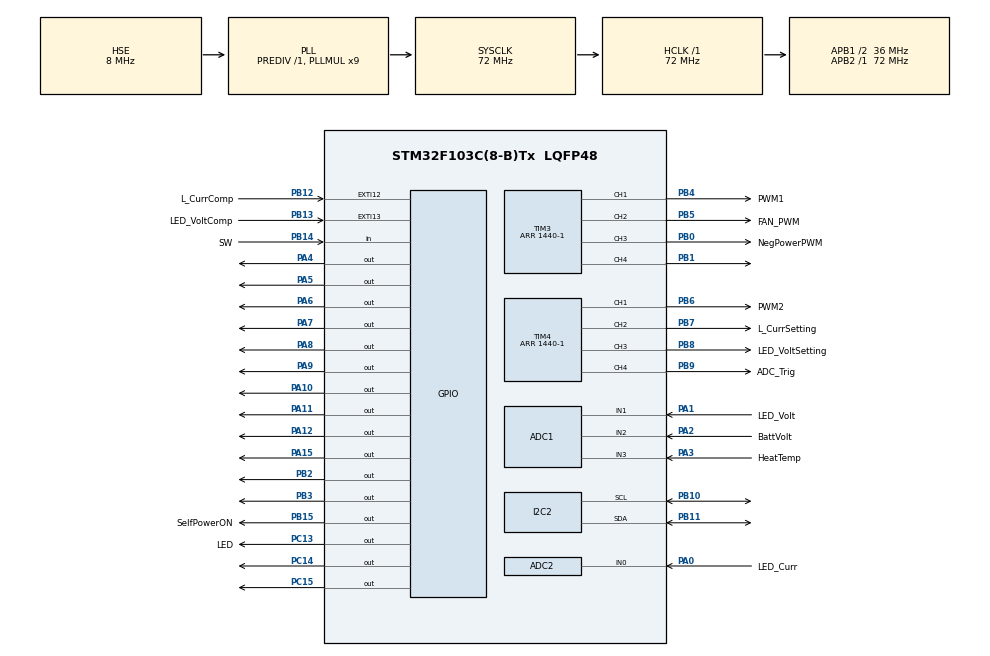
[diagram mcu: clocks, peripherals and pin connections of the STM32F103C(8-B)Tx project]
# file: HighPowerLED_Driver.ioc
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ADC1.Channel-11\#ChannelRegularConversion=ADC_CHANNEL_1
ADC1.Channel-12\#ChannelRegularConversion=ADC_CHANNEL_2
ADC1.Channel-13\#ChannelRegularConversion=ADC_CHANNEL_3
ADC1.Channel-14\#ChannelRegularConversion=ADC_CHANNEL_TEMPSENSOR
ADC1.Channel-15\#ChannelRegularConversion=ADC_CHANNEL_VREFINT
ADC1.ContinuousConvMode=ENABLE
ADC1.EnableInjectedConversion=DISABLE
ADC1.EnableRegularConversion=ENABLE
ADC1.NbrOfConversion=5
ADC1.NbrOfConversionFlag=1
ADC1.Rank-11\#ChannelRegularConversion=1
ADC1.Rank-12\#ChannelRegularConversion=2
ADC1.Rank-13\#ChannelRegularConversion=3
ADC1.Rank-14\#ChannelRegularConversion=4
ADC1.Rank-15\#ChannelRegularConversion=5
ADC1.SamplingTime-11\#ChannelRegularConversion=ADC_SAMPLETIME_13CYCLES_5
ADC1.SamplingTime-12\#ChannelRegularConversion=ADC_SAMPLETIME_13CYCLES_5
ADC1.SamplingTime-13\#ChannelRegularConversion=ADC_SAMPLETIME_13CYCLES_5
ADC1.SamplingTime-14\#ChannelRegularConversion=ADC_SAMPLETIME_55CYCLES_5
ADC1.SamplingTime-15\#ChannelRegularConversion=ADC_SAMPLETIME_55CYCLES_5
ADC1.master=1
ADC2.Channel-1\#ChannelRegularConversion=ADC_CHANNEL_0
ADC2.EnableInjectedConversion=DISABLE
ADC2.ExternalTrigConv=ADC_EXTERNALTRIGCONV_T4_CC4
ADC2.ExternalTrigInjecConv=ADC_INJECTED_SOFTWARE_START
ADC2.InjNumberOfConversion=1
ADC2.NbrOfConversion=1
ADC2.NbrOfConversionFlag=1
ADC2.Rank-1\#ChannelRegularConversion=1
ADC2.SamplingTime-1\#ChannelRegularConversion=ADC_SAMPLETIME_7CYCLES_5
Dma.ADC1.0.Direction=DMA_PERIPH_TO_MEMORY
Dma.ADC1.0.Instance=DMA1_Channel1
Dma.ADC1.0.MemDataAlignment=DMA_MDATAALIGN_HALFWORD
Dma.ADC1.0.MemInc=DMA_MINC_ENABLE
Dma.ADC1.0.Mode=DMA_CIRCULAR
Dma.ADC1.0.PeriphDataAlignment=DMA_PDATAALIGN_HALFWORD
Dma.ADC1.0.PeriphInc=DMA_PINC_DISABLE
Dma.ADC1.0.Priority=DMA_PRIORITY_VERY_HIGH
Dma.I2C2_RX.2.Direction=DMA_PERIPH_TO_MEMORY
Dma.I2C2_RX.2.Instance=DMA1_Channel5
Dma.I2C2_RX.2.MemDataAlignment=DMA_MDATAALIGN_BYTE
Dma.I2C2_RX.2.MemInc=DMA_MINC_ENABLE
Dma.I2C2_RX.2.Mode=DMA_NORMAL
Dma.I2C2_RX.2.PeriphDataAlignment=DMA_PDATAALIGN_BYTE
Dma.I2C2_RX.2.PeriphInc=DMA_PINC_DISABLE
Dma.I2C2_RX.2.Priority=DMA_PRIORITY_LOW
Dma.I2C2_TX.1.Direction=DMA_MEMORY_TO_PERIPH
Dma.I2C2_TX.1.Instance=DMA1_Channel4
Dma.I2C2_TX.1.MemDataAlignment=DMA_MDATAALIGN_BYTE
Dma.I2C2_TX.1.MemInc=DMA_MINC_ENABLE
Dma.I2C2_TX.1.Mode=DMA_NORMAL
Dma.I2C2_TX.1.PeriphDataAlignment=DMA_PDATAALIGN_BYTE
Dma.I2C2_TX.1.PeriphInc=DMA_PINC_DISABLE
Dma.I2C2_TX.1.Priority=DMA_PRIORITY_LOW
Dma.Request0=ADC1
Dma.Request1=I2C2_TX
Dma.Request2=I2C2_RX
Mcu.Family=STM32F1
Mcu.Name=STM32F103C(8-B)Tx
Mcu.Package=LQFP48
NVIC.ADC1_2_IRQn=true\:1\:0\:true\:false\:true\:true\:true\:true
NVIC.DMA1_Channel1_IRQn=true\:11\:0\:true\:false\:true\:false\:true\:true
NVIC.DMA1_Channel4_IRQn=true\:0\:0\:false\:false\:true\:false\:true\:true
NVIC.DMA1_Channel5_IRQn=true\:0\:0\:false\:false\:true\:false\:true\:true
NVIC.EXTI15_10_IRQn=true\:12\:0\:true\:false\:true\:true\:true\:true
NVIC.I2C2_EV_IRQn=true\:0\:0\:false\:false\:true\:true\:true\:true
NVIC.PriorityGroup=NVIC_PRIORITYGROUP_4
NVIC.TIM2_IRQn=true\:14\:0\:true\:false\:true\:true\:true\:true
PA0-WKUP.GPIO_Label=LED_Curr
PA0-WKUP.Signal=ADCx_IN0
PA1.GPIO_Label=LED_Volt
PA1.Signal=ADCx_IN1
PA10.Signal=GPIO_Output
PA11.Signal=GPIO_Output
PA12.Signal=GPIO_Output
PA13.Mode=Serial_Wire
PA13.Signal=SYS_JTMS-SWDIO
PA14.Mode=Serial_Wire
PA14.Signal=SYS_JTCK-SWCLK
PA15.Signal=GPIO_Output
PA2.GPIO_Label=BattVolt
PA2.Signal=ADCx_IN2
PA3.GPIO_Label=HeatTemp
PA3.Signal=ADCx_IN3
PA4.Signal=GPIO_Output
PA5.Signal=GPIO_Output
PA6.Signal=GPIO_Output
PA7.Signal=GPIO_Output
PA8.Signal=GPIO_Output
PA9.Signal=GPIO_Output
PB0.GPIO_Label=NegPowerPWM
PB0.GPIO_Speed=GPIO_SPEED_FREQ_HIGH
PB0.Signal=S_TIM3_CH3
PB1.GPIO_Speed=GPIO_SPEED_FREQ_HIGH
PB1.Signal=S_TIM3_CH4
PB10.Mode=I2C
PB10.Signal=I2C2_SCL
PB11.Mode=I2C
PB11.Signal=I2C2_SDA
PB12.GPIO_Label=L_CurrComp
PB12.GPIO_ModeDefaultEXTI=GPIO_MODE_IT_FALLING
PB12.GPIO_PuPd=GPIO_PULLUP
PB12.Signal=GPXTI12
PB13.GPIO_Label=LED_VoltComp
PB13.GPIO_ModeDefaultEXTI=GPIO_MODE_IT_FALLING
PB13.GPIO_PuPd=GPIO_PULLUP
PB13.Signal=GPXTI13
PB14.GPIO_Label=SW
PB14.GPIO_PuPd=GPIO_NOPULL
PB14.Signal=GPIO_Input
PB15.GPIO_Label=SelfPowerON
PB15.GPIO_PuPd=GPIO_PULLDOWN
PB15.Signal=GPIO_Output
PB2.Signal=GPIO_Output
PB3.Signal=GPIO_Output
PB4.GPIO_Label=PWM1
PB4.GPIO_Speed=GPIO_SPEED_FREQ_HIGH
PB4.Signal=S_TIM3_CH1
PB5.GPIO_Label=FAN_PWM
PB5.GPIO_Speed=GPIO_SPEED_FREQ_HIGH
PB5.Signal=S_TIM3_CH2
PB6.GPIO_Label=PWM2
PB6.GPIO_Speed=GPIO_SPEED_FREQ_HIGH
PB6.Signal=S_TIM4_CH1
PB7.GPIO_Label=L_CurrSetting
PB7.GPIO_Speed=GPIO_SPEED_FREQ_HIGH
PB7.Signal=S_TIM4_CH2
PB8.GPIO_Label=LED_VoltSetting
PB8.GPIO_Speed=GPIO_SPEED_FREQ_HIGH
PB8.Signal=S_TIM4_CH3
PB9.GPIO_Label=ADC_Trig
PB9.GPIO_Speed=GPIO_SPEED_FREQ_HIGH
PB9.Signal=S_TIM4_CH4
PC13-TAMPER-RTC.GPIO_Label=LED
PC13-TAMPER-RTC.GPIO_PuPd=GPIO_PULLDOWN
PC13-TAMPER-RTC.GPIO_Speed=GPIO_SPEED_FREQ_HIGH
PC13-TAMPER-RTC.PinState=GPIO_PIN_RESET
PC13-TAMPER-RTC.Signal=GPIO_Output
PC14-OSC32_IN.Signal=GPIO_Output
PC15-OSC32_OUT.Signal=GPIO_Output
PD0-OSC_IN.Mode=HSE-External-Oscillator
PD0-OSC_IN.Signal=RCC_OSC_IN
PD1-OSC_OUT.Mode=HSE-External-Oscillator
PD1-OSC_OUT.Signal=RCC_OSC_OUT
ProjectManager.HeapSize=0x200
ProjectManager.StackSize=0x400
ProjectManager.TargetToolchain=CMake
RCC.ADCPresc=RCC_ADCPCLK2_DIV6
RCC.AHBFreq_Value=72000000
RCC.APB1CLKDivider=RCC_HCLK_DIV2
RCC.APB1Freq_Value=36000000
RCC.APB1TimFreq_Value=72000000
RCC.APB2Freq_Value=72000000
RCC.APB2TimFreq_Value=72000000
RCC.HCLKFreq_Value=72000000
RCC.PLLMUL=RCC_PLL_MUL9
RCC.PLLSourceVirtual=RCC_PLLSOURCE_HSE
RCC.RCC_MCOSource=RCC_MCO1SOURCE_PLLCLK
RCC.RTCClockSelection=RCC_RTCCLKSOURCE_LSE
RCC.SYSCLKFreq_VALUE=72000000
RCC.SYSCLKSource=RCC_SYSCLKSOURCE_PLLCLK
RCC.USBFreq_Value=72000000
SH.ADCx_IN0.0=ADC2_IN0,IN0
SH.ADCx_IN1.0=ADC2_IN1
SH.ADCx_IN1.1=ADC1_IN1,IN1
SH.ADCx_IN2.0=ADC1_IN2,IN2
SH.ADCx_IN3.0=ADC1_IN3,IN3
SH.S_TIM3_CH1.0=TIM3_CH1,PWM Generation1 CH1
SH.S_TIM3_CH2.0=TIM3_CH2,PWM Generation2 CH2
SH.S_TIM3_CH3.0=TIM3_CH3,PWM Generation3 CH3
SH.S_TIM3_CH4.0=TIM3_CH4,PWM Generation4 CH4
SH.S_TIM4_CH1.0=TIM4_CH1,PWM Generation1 CH1
SH.S_TIM4_CH2.0=TIM4_CH2,PWM Generation2 CH2
SH.S_TIM4_CH3.0=TIM4_CH3,PWM Generation3 CH3
SH.S_TIM4_CH4.0=TIM4_CH4,PWM Generation4 CH4
TIM2.AutoReloadPreload=TIM_AUTORELOAD_PRELOAD_ENABLE
TIM2.CounterMode=TIM_COUNTERMODE_UP
TIM2.Period=7200-1
TIM2.Prescaler=10-1
TIM3.AutoReloadPreload=TIM_AUTORELOAD_PRELOAD_ENABLE
TIM3.Channel-PWM\ Generation1\ CH1=TIM_CHANNEL_1
TIM3.Channel-PWM\ Generation2\ CH2=TIM_CHANNEL_2
TIM3.Channel-PWM\ Generation3\ CH3=TIM_CHANNEL_3
TIM3.Channel-PWM\ Generation4\ CH4=TIM_CHANNEL_4
TIM3.CounterMode=TIM_COUNTERMODE_UP
TIM3.OC1Preload_PWM=DISABLE
TIM3.OC2Preload_PWM=DISABLE
TIM3.OC4Preload_PWM=DISABLE
TIM3.OCFastMode_PWM-PWM\ Generation1\ CH1=TIM_OCFAST_ENABLE
TIM3.OCFastMode_PWM-PWM\ Generation2\ CH2=TIM_OCFAST_ENABLE
TIM3.OCFastMode_PWM-PWM\ Generation4\ CH4=TIM_OCFAST_ENABLE
TIM3.OCMode_PWM-PWM\ Generation4\ CH4=TIM_OCMODE_PWM2
TIM3.Period=1440-1
TIM3.Pulse-PWM\ Generation1\ CH1=0
TIM3.Pulse-PWM\ Generation2\ CH2=0
TIM3.Pulse-PWM\ Generation4\ CH4=720
TIM3.TIM_MasterOutputTrigger=TIM_TRGO_OC4REF
TIM3.TIM_MasterSlaveMode=TIM_MASTERSLAVEMODE_DISABLE
TIM4.AutoReloadPreload=TIM_AUTORELOAD_PRELOAD_ENABLE
TIM4.Channel-PWM\ Generation1\ CH1=TIM_CHANNEL_1
TIM4.Channel-PWM\ Generation2\ CH2=TIM_CHANNEL_2
TIM4.Channel-PWM\ Generation3\ CH3=TIM_CHANNEL_3
TIM4.Channel-PWM\ Generation4\ CH4=TIM_CHANNEL_4
TIM4.CounterMode=TIM_COUNTERMODE_UP
TIM4.OC1Preload_PWM=DISABLE
TIM4.OC4Preload_PWM=DISABLE
TIM4.OCFastMode_PWM-PWM\ Generation1\ CH1=TIM_OCFAST_ENABLE
TIM4.OCFastMode_PWM-PWM\ Generation4\ CH4=TIM_OCFAST_ENABLE
TIM4.OCMode_PWM-PWM\ Generation4\ CH4=TIM_OCMODE_PWM2
TIM4.Period=1440-1
TIM4.Pulse-PWM\ Generation1\ CH1=0
TIM4.Pulse-PWM\ Generation4\ CH4=1
TIM4.TIM_MasterOutputTrigger=TIM_TRGO_OC4REF
VP_ADC1_TempSens_Input.Mode=IN-TempSens
VP_ADC1_Vref_Input.Mode=IN-Vrefint
VP_TIM2_VS_ClockSourceINT.Mode=Internal
VP_TIM3_VS_ClockSourceINT.Mode=Internal
VP_TIM4_VS_ClockSourceINT.Mode=Internal
VP_TIM4_VS_ClockSourceITR.Mode=TriggerSource_ITR2
VP_TIM4_VS_ControllerModeReset.Mode=Reset Mode
board=custom

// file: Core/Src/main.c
/* USER CODE BEGIN Header */
/**
 ******************************************************************************
 * @file           : main.c
 * @brief          : Main program body
 ******************************************************************************
 * @attention
 *
 * Copyright (c) 2024 STMicroelectronics.
 * All rights reserved.
 *
 * This software is licensed under terms that can be found in the LICENSE file
 * in the root directory of this software component.
 * If no LICENSE file comes with this software, it is provided AS-IS.
 *
 ******************************************************************************
 */
/* USER CODE END Header */
#include "main.h"
#include "adc.h"
#include "dma.h"
#include "i2c.h"
#include "tim.h"
#include "gpio.h"

/* USER CODE BEGIN Includes */
#include "ssd1306.h"
#include "pid.h"
/* USER CODE END Includes */

/* USER CODE BEGIN PTD */
typedef struct
{
	uint16_t LED_Volt_AD_Val;
	uint16_t BattVolt_AD_Val;
	uint16_t HeatTemp_AD_Val;
	uint16_t CPU_Temp_AD_Val;
	uint16_t AD_IntRef_AD_Val;
} ADC1_VAL_t;

typedef struct
{
	uint16_t LED_Curr_AD_Val;
} ADC2_VAL_t;

typedef struct
{
	int32_t target;
	int32_t now;
} PID_Ctrl_t;

typedef struct
{
	uint32_t StartPID : 1;	   // PID処理の開始
	uint32_t StartProcADC : 1; // 各種ADC取得データの処理開始
	uint32_t SW_now : 1;	   // 起動SWの現在値(100ms処理)
	uint32_t SW_befor : 1;	   // 起動SWの前回値(100ms処理)
	uint32_t SW_push : 1;	   // 起動SWが押された(ソフトクリア)
	uint32_t Failsafe : 1;	   // フェールセーフ状態
	uint32_t TIM_10ms : 1;
	uint32_t TIM_100ms : 1;
	uint32_t TIM_1s : 1;
	uint32_t OLED_Update : 1;
} FLGBITS_t;

typedef struct
{
	uint8_t LED_OverVolt : 1;
	uint8_t L_OverCurr : 1;
	uint8_t Bat_UnderVold : 1;
	uint8_t LED_OverHeat : 1;
	uint8_t CPU_OverHeat : 1;
} FAILSAFE_STATUS_BITS_t;

typedef union
{
	uint8_t BYTEs;
	FAILSAFE_STATUS_BITS_t BITs;
} FAILSAFE_STATUS_BYTE_t;

typedef struct
{
	FAILSAFE_STATUS_BYTE_t now;
	FAILSAFE_STATUS_BYTE_t befor;
	FAILSAFE_STATUS_BYTE_t record;
} FAILSAFE_STATUSES_t;

/* USER CODE END PTD */

/* USER CODE BEGIN PV */
ADC1_VAL_t ADC1_Value = {0};
ADC2_VAL_t ADC2_Value = {0};
FLGBITS_t FLGbits = {0};
FAILSAFE_STATUSES_t FailsafeStatuses = {0};

PID_Ctrl_t LED_Curr_PID = {0};
PIDController_t PID_CurrCtrl = {0};
PID_Ctrl_t LED_Power_PID = {0};
PIDController_t PID_LedPowerCtrl = {0};

const uint16_t PWM_FULL = 1440 - 1;
const uint16_t PWM_HARF = 720;
/* USER CODE END PV */

void SystemClock_Config(void);
/* USER CODE BEGIN PFP */
void HAL_TIM_PeriodElapsedCallback(TIM_HandleTypeDef *htim);
void HAL_ADC_ConvCpltCallback(ADC_HandleTypeDef *hadc);
void HAL_GPIO_EXTI_Callback(uint16_t GPIO_Pin);
void HAL_I2C_MasterTxCpltCallback(I2C_HandleTypeDef *hi2c);
static void mainProc(void);
/* USER CODE END PFP */

/* USER CODE BEGIN 0 */
void HAL_TIM_PeriodElapsedCallback(TIM_HandleTypeDef *htim)
{
	if (htim == &htim2)
	{
		// 1ms
		static uint16_t cnt_1s = 0;
		cnt_1s++;

		if (cnt_1s % 10 == 0)
		{
			// 10ms
			FLGbits.TIM_10ms = 1;
		}
		if (cnt_1s % 100 == 0)
		{
			// 100ms
			FLGbits.TIM_100ms = 1;
		}
		if (cnt_1s % 50 == 0)
		{
			// 200ms
			FLGbits.OLED_Update = 1;
		}

		if (cnt_1s >= 1000)
		{
			// 1s
			cnt_1s = 0;
			FLGbits.TIM_1s = 1;
			// HAL_GPIO_TogglePin(LED_GPIO_Port, LED_Pin);
		}
	}
}

void HAL_ADC_ConvCpltCallback(ADC_HandleTypeDef *hadc)
{
	if (hadc == &hadc1)
	{
		FLGbits.StartProcADC = 1;
	}
	if (hadc == &hadc2)
	{
		ADC2_Value.LED_Curr_AD_Val = HAL_ADC_GetValue(&hadc2);
		FLGbits.StartPID = 1;
	}
}

void HAL_GPIO_EXTI_Callback(uint16_t GPIO_Pin)
{
	if (GPIO_Pin == LED_VoltComp_Pin)
	{
		FailsafeStatuses.now.BITs.LED_OverVolt = 1;
	}
	if (GPIO_Pin == L_CurrComp_Pin)
	{
		FailsafeStatuses.now.BITs.L_OverCurr = 1;
	}
}

void HAL_I2C_MasterTxCpltCallback(I2C_HandleTypeDef *hi2c)
{
	if (hi2c == &hi2c2)
	{
		__NOP();
	}
}

static void mainProc(void)
{

	if (FLGbits.StartPID)
	{
		FLGbits.StartPID = 0;

		//  ADC=1.2V/A
		//  Vref=3.3V
		//  1.2V=1489d
		LED_Curr_PID.now = ADC2_Value.LED_Curr_AD_Val;

		fixedPoint32_t proc = PID_Proc(&PID_CurrCtrl, LED_Curr_PID.target, LED_Curr_PID.now);
		proc = fixed_point_mul(proc, PWM_FULL);
		proc = (proc <= 0) ? 0 : proc;
		const int32_t PID_Limit = 900;
		proc = (proc > PID_Limit) ? PID_Limit : proc;
		uint16_t pwm = (uint16_t)proc;

		if (FLGbits.Failsafe)
		{
			// LED_Curr_PID.target = 0;
			pwm = 0;
			FLGbits.Failsafe = 0;
		}

		__HAL_TIM_SET_COMPARE(&htim3, TIM_CHANNEL_1, pwm);
		__HAL_TIM_SET_COMPARE(&htim3, TIM_CHANNEL_4, PWM_HARF);
		__HAL_TIM_SET_COMPARE(&htim4, TIM_CHANNEL_1, pwm);
		__HAL_TIM_SET_COMPARE(&htim4, TIM_CHANNEL_4, pwm / 2 + 1);
	}

	if (FLGbits.StartProcADC)
	{
		FLGbits.StartProcADC = 0;

		// ヒートシンク冷却ファンPWMデューティー演算
		__HAL_TIM_SET_COMPARE(&htim3, TIM_CHANNEL_2, 1200);
	}

	if (FLGbits.SW_push)
	{
		FLGbits.SW_push = 0;
		HAL_GPIO_TogglePin(LED_GPIO_Port, LED_Pin);
	}

	if (FLGbits.TIM_10ms)
	{
		FLGbits.TIM_10ms = 0;

		// LED投入電力計算
		float led_curr = LED_Curr_PID.now;
		led_curr *= 33.0f / 32768.0f;
		float led_volt = ADC1_Value.LED_Volt_AD_Val;
		led_volt *= 11.0f / 1024.0f;
		LED_Power_PID.now = (int32_t)(led_curr * led_volt);

		// LED電力PID制御
		fixedPoint32_t proc = PID_Proc(&PID_LedPowerCtrl, LED_Power_PID.target, LED_Power_PID.now);
		proc = fixed_point_mul(proc, 4000);
		proc = (proc <= 0) ? 0 : proc;
		const int32_t PID_Limit = 3800;
		proc = (proc > PID_Limit) ? PID_Limit : proc;
		LED_Curr_PID.target = proc;

		// フェールセーフ状態か判定
		if (
			(FailsafeStatuses.now.BYTEs > 0) &&
			(FailsafeStatuses.now.BYTEs != FailsafeStatuses.befor.BYTEs))
		{
			FailsafeStatuses.record.BYTEs |= FailsafeStatuses.now.BYTEs;
			FailsafeStatuses.now.BYTEs = 0;
			FLGbits.Failsafe = 1;
		}
		FailsafeStatuses.befor.BYTEs = FailsafeStatuses.now.BYTEs;

		// OLED表示データ生成
		char str[20] = {0};
		intToString((int16_t)LED_Curr_PID.target, str);
		OLED_SetCursor(0, 1);
		OLED_WriteString(str);
		OLED_WriteString(" ");

		intToString((int16_t)LED_Curr_PID.now, str);
		OLED_SetCursor(30, 1);
		OLED_WriteString(str);
		OLED_WriteString("     ");

		intToString(ADC1_Value.LED_Volt_AD_Val, str);
		OLED_SetCursor(0, 2);
		OLED_WriteString(str);
		OLED_WriteString(" ");

		intToString(ADC1_Value.BattVolt_AD_Val, str);
		OLED_SetCursor(30, 2);
		OLED_WriteString(str);
		OLED_WriteString(" ");

		intToString(ADC1_Value.HeatTemp_AD_Val, str);
		OLED_SetCursor(60, 2);
		OLED_WriteString(str);
		OLED_WriteString(" ");

		intToString(LED_Power_PID.now, str);
		OLED_SetCursor(90, 2);
		OLED_WriteString(str);
		OLED_WriteString("    ");

		intToString(ADC1_Value.CPU_Temp_AD_Val, str);
		OLED_SetCursor(0, 3);
		OLED_WriteString(str);
		OLED_WriteString(" ");

		intToString(ADC1_Value.AD_IntRef_AD_Val, str);
		OLED_SetCursor(30, 3);
		OLED_WriteString(str);
		OLED_WriteString("    ");
	}

	if (FLGbits.TIM_100ms)
	{
		FLGbits.TIM_100ms = 0;

		FLGbits.SW_now = (HAL_GPIO_ReadPin(SW_GPIO_Port, SW_Pin) == GPIO_PIN_RESET) ? 1 : 0; // SW押されてたら1
		if (
			(FLGbits.SW_now == 1) &&
			(FLGbits.SW_now != FLGbits.SW_befor)) // SW押されたエッジを検出
		{
			FLGbits.SW_push = 1;
		}
		FLGbits.SW_befor = FLGbits.SW_now; // 今回値を前回値にする
	}

	if (FLGbits.TIM_1s)
	{
		FLGbits.TIM_1s = 0;
		if(LED_Power_PID.target>30)
		{
			LED_Power_PID.target=10;
		}else{
			LED_Power_PID.target=100;
		}
	}

	if (FLGbits.OLED_Update)
	{
		FLGbits.OLED_Update = 0;
		OLED_Update(&hi2c2);
	}
}

/* USER CODE END 0 */

int main(void)
{

  /* MCU Configuration--------------------------------------------------------*/

  /* Reset of all peripherals, Initializes the Flash interface and the Systick. */
  HAL_Init();

  /* Configure the system clock */
  SystemClock_Config();

  /* Initialize all configured peripherals */
  MX_GPIO_Init();
  MX_DMA_Init();
  MX_ADC1_Init();
  MX_ADC2_Init();
  MX_TIM2_Init();
  MX_TIM3_Init();
  MX_TIM4_Init();
  MX_I2C2_Init();
  /* USER CODE BEGIN 2 */
	// TIM2動作開始＆割り込み有効
	HAL_TIM_Base_Start_IT(&htim2);
	// TIM3、TIM4のPWNとOC動作開始＆割り込み有効
	HAL_TIM_PWM_Start(&htim3, TIM_CHANNEL_1);
	HAL_TIM_PWM_Start(&htim3, TIM_CHANNEL_2);
	HAL_TIM_PWM_Start(&htim3, TIM_CHANNEL_3);
	HAL_TIM_OC_Start(&htim3, TIM_CHANNEL_4);
	HAL_TIM_PWM_Start(&htim4, TIM_CHANNEL_1);
	HAL_TIM_PWM_Start(&htim4, TIM_CHANNEL_2);
	HAL_TIM_PWM_Start(&htim4, TIM_CHANNEL_3);
	HAL_TIM_OC_Start(&htim4, TIM_CHANNEL_4);
	// ADC1、ADC2動作開始＆割り込み有効
	HAL_ADCEx_Calibration_Start(&hadc1);
	HAL_ADCEx_Calibration_Start(&hadc2);
	HAL_ADC_Start_DMA(&hadc1, (uint32_t *)&ADC1_Value, 5); // 5chの変換を行う 格納先変数アドレスはuint32で受けるため、uint16の構造体だがキャストする
	HAL_ADC_Start_IT(&hadc2);
	// OLED初期化
	OLED_Init(&hi2c2);
	OLED_Clear();
	// PID初期化
	PID_Init(
		&PID_CurrCtrl,
		fixed_point_val(0.5f),
		fixed_point_val(0.3f),
		fixed_point_val(0.05f),
		fixed_point_val(-1.0f),
		fixed_point_val(1.0f));
	PID_Init(
		&PID_LedPowerCtrl,
		fixed_point_val(30.0f),
		fixed_point_val(15.0f),
		fixed_point_val(1.0f),
		fixed_point_val(-1.0f),
		fixed_point_val(1.0f));

	// 負電源生成開始
	__HAL_TIM_SET_COMPARE(&htim3, TIM_CHANNEL_3, PWM_HARF);
	// 昇圧コイル電流リミット値設定
	__HAL_TIM_SET_COMPARE(&htim4, TIM_CHANNEL_2, 1309); // リミット8A
	// LED過電圧リミット値設定
	__HAL_TIM_SET_COMPARE(&htim4, TIM_CHANNEL_3, 1309); // リミット40V

	// フェールセーフフラグクリア
	// ポート初期化でプルアップが無効になり、ポート初期設定後にフェールセーフモードに入っているため
	FLGbits.Failsafe = 0;

	// LED電流設定
	//LED_Curr_PID.target = 500;

	// LED電力設定
	LED_Power_PID.target=10;

	//電源の自己保持開始
	HAL_GPIO_WritePin(SelfPowerON_GPIO_Port,SelfPowerON_Pin,GPIO_PIN_SET);

  /* USER CODE END 2 */

  /* Infinite loop */
  /* USER CODE BEGIN WHILE */
	while (1)
	{
		mainProc();
    /* USER CODE END WHILE */

	}
}

void SystemClock_Config(void)
{
  RCC_OscInitTypeDef RCC_OscInitStruct = {0};
  RCC_ClkInitTypeDef RCC_ClkInitStruct = {0};
  RCC_PeriphCLKInitTypeDef PeriphClkInit = {0};

  /** Initializes the RCC Oscillators according to the specified parameters
  * in the RCC_OscInitTypeDef structure.
  */
  RCC_OscInitStruct.OscillatorType = RCC_OSCILLATORTYPE_HSE;
  RCC_OscInitStruct.HSEState = RCC_HSE_ON;
  RCC_OscInitStruct.HSEPredivValue = RCC_HSE_PREDIV_DIV1;
  RCC_OscInitStruct.HSIState = RCC_HSI_ON;
  RCC_OscInitStruct.PLL.PLLState = RCC_PLL_ON;
  RCC_OscInitStruct.PLL.PLLSource = RCC_PLLSOURCE_HSE;
  RCC_OscInitStruct.PLL.PLLMUL = RCC_PLL_MUL9;
  if (HAL_RCC_OscConfig(&RCC_OscInitStruct) != HAL_OK)
  {
    Error_Handler();
  }

  /** Initializes the CPU, AHB and APB buses clocks
  */
  RCC_ClkInitStruct.ClockType = RCC_CLOCKTYPE_HCLK|RCC_CLOCKTYPE_SYSCLK
                              |RCC_CLOCKTYPE_PCLK1|RCC_CLOCKTYPE_PCLK2;
  RCC_ClkInitStruct.SYSCLKSource = RCC_SYSCLKSOURCE_PLLCLK;
  RCC_ClkInitStruct.AHBCLKDivider = RCC_SYSCLK_DIV1;
  RCC_ClkInitStruct.APB1CLKDivider = RCC_HCLK_DIV2;
  RCC_ClkInitStruct.APB2CLKDivider = RCC_HCLK_DIV1;

  if (HAL_RCC_ClockConfig(&RCC_ClkInitStruct, FLASH_LATENCY_2) != HAL_OK)
  {
    Error_Handler();
  }
  PeriphClkInit.PeriphClockSelection = RCC_PERIPHCLK_ADC;
  PeriphClkInit.AdcClockSelection = RCC_ADCPCLK2_DIV6;
  if (HAL_RCCEx_PeriphCLKConfig(&PeriphClkInit) != HAL_OK)
  {
    Error_Handler();
  }
}

void Error_Handler(void)
{
	__disable_irq();
	while (1)
	{
	}
}
